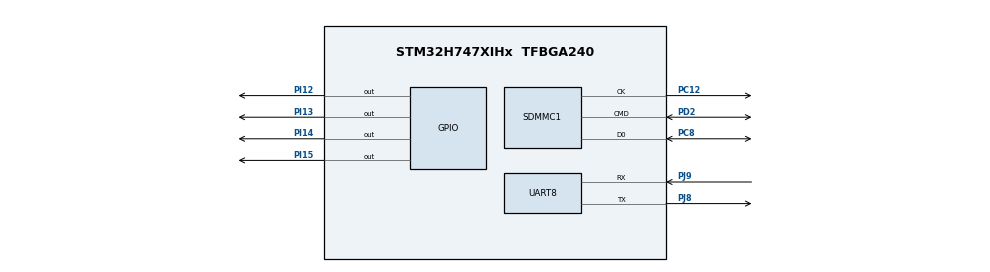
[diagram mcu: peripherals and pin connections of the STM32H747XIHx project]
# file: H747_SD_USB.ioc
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CortexM4.IPs=BDMA,CORTEX_M4\:I,DEBUG,DMA,FATFS_M4\:I,FREERTOS_M4\:I,IWDG2\:I,MDMA,NVIC2\:I,OPENAMP_M4\:I,PDM2PCM_M4\:I,PWR,RCC,RESMGR_UTILITY,SYS_M4\:I,USB_DEVICE_M4\:I,USB_HOST_M4\:I,VREFBUF,WWDG2\:I
CortexM7.IPs=BDMA\:I,CORTEX_M7\:I,DEBUG\:I,DMA\:I,FATFS_M7\:I,FREERTOS_M7\:I,IWDG1\:I,MDMA\:I,NVIC1\:I,OPENAMP_M7\:I,PDM2PCM_M7\:I,PWR\:I,RCC\:I,RESMGR_UTILITY\:I,SYS\:I,USB_DEVICE_M7\:I,USB_HOST_M7\:I,VREFBUF\:I,WWDG1\:I,SDMMC1\:I,UART8\:I
CortexM7.Pins=PI12,PI13,PI14,PI15
FATFS_M7._USE_STRFUNC=1
Mcu.Family=STM32H7
Mcu.Name=STM32H747XIHx
Mcu.Package=TFBGA240
NVIC1.PriorityGroup=NVIC_PRIORITYGROUP_4
NVIC1.UART8_IRQn=true\:0\:0\:false\:false\:true\:true\:true
NVIC2.PriorityGroup=NVIC_PRIORITYGROUP_4
PC12.Mode=SD_1_bit
PC12.PinAttribute=CortexM7
PC12.Signal=SDMMC1_CK
PC8.Mode=SD_1_bit
PC8.PinAttribute=CortexM7
PC8.Signal=SDMMC1_D0
PD2.Mode=SD_1_bit
PD2.PinAttribute=CortexM7
PD2.Signal=SDMMC1_CMD
PI12.PinAttribute=CortexM7
PI12.Signal=GPIO_Output
PI13.PinAttribute=CortexM7
PI13.Signal=GPIO_Output
PI14.PinAttribute=CortexM7
PI14.Signal=GPIO_Output
PI15.PinAttribute=CortexM7
PI15.Signal=GPIO_Output
PJ8.Mode=Asynchronous
PJ8.PinAttribute=CortexM7
PJ8.Signal=UART8_TX
PJ9.Mode=Asynchronous
PJ9.PinAttribute=CortexM7
PJ9.Signal=UART8_RX
ProjectManager.HeapSize=0x200
ProjectManager.StackSize=0x400
ProjectManager.TargetToolchain=STM32CubeIDE
RCC.ADCFreq_Value=129000000
RCC.APB1Freq_Value=64000000
RCC.APB2Freq_Value=64000000
RCC.APB3Freq_Value=64000000
RCC.APB4Freq_Value=64000000
RCC.CortexFreq_Value=64000000
RCC.HCLKFreq_Value=64000000
RCC.SYSCLKFreq_VALUE=64000000
RCC.USBCLockSelection=RCC_USBCLKSOURCE_HSI48
RCC.USBFreq_Value=48000000
SYS.userName=SYS_M7
VP_FATFS_M7_VS_SDIO.Mode=SDIO
VP_SYS_M4_VS_Systick.Mode=SysTick
board=custom

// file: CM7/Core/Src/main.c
/* USER CODE BEGIN Header */
/**
  ******************************************************************************
  * @file           : main.c
  * @brief          : Main program body
  ******************************************************************************
  * @attention
  *
  * <h2><center>&copy; Copyright (c) 2021 STMicroelectronics.
  * All rights reserved.</center></h2>
  *
  * This software component is licensed by ST under BSD 3-Clause license,
  * the "License"; You may not use this file except in compliance with the
  * License. You may obtain a copy of the License at:
  *                        opensource.org/licenses/BSD-3-Clause
  *
  ******************************************************************************
  */
/* USER CODE END Header */
#include "main.h"
#include "fatfs.h"

#include <stdio.h>
#include <string.h>
#include <stdarg.h>

/* USER CODE BEGIN PD */

#ifndef HSEM_ID_0
#define HSEM_ID_0 (0U) /* HW semaphore 0*/
#endif
/* USER CODE END PD */

SD_HandleTypeDef hsd1;

UART_HandleTypeDef huart8;

/* USER CODE BEGIN PV */
FATFS   	fatfs; 		/* FAT File System */
FRESULT 	fresult;  	/* FAT File Result */
FIL			myfile;		/* FILE Instance */

uint8_t write_data[] = "Hello! This is my friend.", byte_written = 0;
/* USER CODE END PV */

void SystemClock_Config(void);
static void MX_GPIO_Init(void);
static void MX_SDMMC1_SD_Init(void);
static void MX_UART8_Init(void);

/* USER CODE BEGIN 0 */
void Send_Uart (char *string)
{
	HAL_UART_Transmit(&huart8, (uint8_t *)string, strlen (string), HAL_MAX_DELAY);
}

int __io_putchar (int ch) {
	uint8_t c = ch;
	HAL_UART_Transmit(&huart8, &c, 1, 1000);
	return ch;
}

// Tạo file stm.txt và luu string 'Hello! This is my friend.
void Sd_Card_Manager()
{
	Send_Uart("Sd_Card_Manager...\n\r");
	if(BSP_SD_Init() == MSD_OK)
	{
		Send_Uart("successfully...\n\r");
		fresult = f_mount(&fatfs,"",1);

		/* Create File with name "stm32.txt" and file access is write */
		fresult = f_open(&myfile,"stm.txt",FA_CREATE_ALWAYS|FA_WRITE);

		byte_written = f_printf(&myfile,"%s",write_data);

		fresult = f_close(&myfile);
	}
}

// List ra cây thư muc có trong thẻ nhớ
void ls_dir(char* path)
{
	DIR Dir;
	FILINFO _Finfo;
	BYTE res;
	long p1, p2;
	UINT s1, s2;
	//while (*ptr == ' ') ptr++;
	res = f_opendir(&Dir, path);
	if (res)
	{
		//put_rc(res);
		return;
	}
	p1 = s1 = s2 = 0;

	for(;;) {
		res = f_readdir(&Dir, &_Finfo);
		if ((res != FR_OK) || !_Finfo.fname[0]) break;
		if (_Finfo.fattrib & AM_DIR) {
			s2++;
		} else {
			s1++; p1 += _Finfo.fsize;
		}
		printf("%c%c%c%c%c %u/%02u/%02u %02u:%02u %9lu  %s",
					(_Finfo.fattrib & AM_DIR) ? 'D' : '-',
					(_Finfo.fattrib & AM_RDO) ? 'R' : '-',
					(_Finfo.fattrib & AM_HID) ? 'H' : '-',
					(_Finfo.fattrib & AM_SYS) ? 'S' : '-',
					(_Finfo.fattrib & AM_ARC) ? 'A' : '-',
					(_Finfo.fdate >> 9) + 1980, (_Finfo.fdate >> 5) & 15, _Finfo.fdate & 31,
					(_Finfo.ftime >> 11), (_Finfo.ftime >> 5) & 63,
					_Finfo.fsize, &(_Finfo.fname[0]));
		printf("\r\n");
	}
	f_closedir(&Dir);
}

// Đọc dữ liệu trong 1 file bất kì
void fatfs_head_file(const char * fn)
{
	FRESULT f_err_code;
	FIL fil_obj;
	//trying to open and read file..
	f_chdir("/");
	f_err_code = f_open(&fil_obj, fn,FA_READ);	//Open *fn - <index.htm> for reading
	if(f_err_code==0)
	{
		DWORD file_len = fil_obj.fptr;
		UINT br;
		uint8_t _buf[128] = {0, };
		printf("++Content <%s> = %lu bytes found on SDCARD\r\n", fn, file_len);
		printf("++Trying to read head file..\r\n");
		f_err_code = f_read(&fil_obj,&_buf[0], 128, &br);
		if(f_err_code == 0)
		{
			if(br < 128)
				_buf[br] = 0x0;
			else
				_buf[127] = 0x0;
			printf ("OK\r\n");
			printf("text contents reading %u bytes:\r\n", br);
			printf("%s", _buf);
		}
		else
		{
			printf ("ERROR ");
			//put_rc(f_err_code);
			printf("But anyway text contents:\r\n");
			printf("%s", _buf);
		}
		f_close(&fil_obj);
	}
	else
	{
		printf ("ERROR opening file <%s> ", fn);
		//put_rc(f_err_code);
	}
}

void fatfs_init(void)
{
	printf(">>FS MOUNT ");
	f_mount(&fatfs, (const TCHAR *)"", 1);
	printf(">>GO ROOT DIRECTORY ");
	f_chdir((const TCHAR *)"/");
	printf ("\r\n\r\nSD-Card root file list:\r\n");
	printf ("===============================================\r\n");
	ls_dir("/");
	printf ("===============================================\r\n\r\n");

}
/* USER CODE END 0 */

int main(void)
{
/* USER CODE BEGIN Boot_Mode_Sequence_0 */
  int32_t timeout;
/* USER CODE END Boot_Mode_Sequence_0 */

/* USER CODE BEGIN Boot_Mode_Sequence_1 */
  /* Wait until CPU2 boots and enters in stop mode or timeout*/
  timeout = 0xFFFF;
  while((__HAL_RCC_GET_FLAG(RCC_FLAG_D2CKRDY) != RESET) && (timeout-- > 0));
  if ( timeout < 0 )
  {
  Error_Handler();
  }
/* USER CODE END Boot_Mode_Sequence_1 */
  /* MCU Configuration--------------------------------------------------------*/

  /* Reset of all peripherals, Initializes the Flash interface and the Systick. */
  HAL_Init();

  /* Configure the system clock */
  SystemClock_Config();
/* USER CODE BEGIN Boot_Mode_Sequence_2 */
/* When system initialization is finished, Cortex-M7 will release Cortex-M4 by means of
HSEM notification */
/*HW semaphore Clock enable*/
__HAL_RCC_HSEM_CLK_ENABLE();
/*Take HSEM */
HAL_HSEM_FastTake(HSEM_ID_0);
/*Release HSEM in order to notify the CPU2(CM4)*/
HAL_HSEM_Release(HSEM_ID_0,0);
/* wait until CPU2 wakes up from stop mode */
timeout = 0xFFFF;
while((__HAL_RCC_GET_FLAG(RCC_FLAG_D2CKRDY) == RESET) && (timeout-- > 0));
if ( timeout < 0 )
{
Error_Handler();
}
/* USER CODE END Boot_Mode_Sequence_2 */

  /* Initialize all configured peripherals */
  MX_GPIO_Init();
  MX_SDMMC1_SD_Init();
  MX_FATFS_Init();
  MX_UART8_Init();
  /* USER CODE BEGIN 2 */
  //Sd_Card_Manager();

  fatfs_init();
  fatfs_head_file("stm.txt");

  /* USER CODE END 2 */

  /* Infinite loop */
  while (1)
  {
//	  Send_Uart("USB mounted successfully...\n\r");
//		HAL_GPIO_TogglePin(GPIOI, GPIO_PIN_12);
//		HAL_GPIO_TogglePin(GPIOI, GPIO_PIN_13);
//		HAL_GPIO_TogglePin(GPIOI, GPIO_PIN_14);
//		HAL_GPIO_TogglePin(GPIOI, GPIO_PIN_15);
		HAL_Delay(1000);
  }
}

void SystemClock_Config(void)
{
  RCC_ClkInitTypeDef RCC_ClkInitStruct;
  RCC_OscInitTypeDef RCC_OscInitStruct;
  HAL_StatusTypeDef ret = HAL_OK;

  /*!< Supply configuration update enable */
  HAL_PWREx_ConfigSupply(PWR_DIRECT_SMPS_SUPPLY);

  /* The voltage scaling allows optimizing the power consumption when the device is
     clocked below the maximum system frequency, to update the voltage scaling value
     regarding system frequency refer to product datasheet.  */
  __HAL_PWR_VOLTAGESCALING_CONFIG(PWR_REGULATOR_VOLTAGE_SCALE1);

  while(!__HAL_PWR_GET_FLAG(PWR_FLAG_VOSRDY)) {}

  /* Enable HSE Oscillator and activate PLL with HSE as source */
  RCC_OscInitStruct.OscillatorType = RCC_OSCILLATORTYPE_HSE;
  RCC_OscInitStruct.HSEState = RCC_HSE_ON;
  RCC_OscInitStruct.HSIState = RCC_HSI_OFF;
  RCC_OscInitStruct.CSIState = RCC_CSI_OFF;
  RCC_OscInitStruct.PLL.PLLState = RCC_PLL_ON;
  RCC_OscInitStruct.PLL.PLLSource = RCC_PLLSOURCE_HSE;

  RCC_OscInitStruct.PLL.PLLM = 5;
  RCC_OscInitStruct.PLL.PLLN = 160;
  RCC_OscInitStruct.PLL.PLLFRACN = 0;
  RCC_OscInitStruct.PLL.PLLP = 2;
  RCC_OscInitStruct.PLL.PLLR = 2;
  RCC_OscInitStruct.PLL.PLLQ = 4;

  RCC_OscInitStruct.PLL.PLLVCOSEL = RCC_PLL1VCOWIDE;
  RCC_OscInitStruct.PLL.PLLRGE = RCC_PLL1VCIRANGE_2;
  ret = HAL_RCC_OscConfig(&RCC_OscInitStruct);
  if(ret != HAL_OK)
  {
    Error_Handler();
  }

/* Select PLL as system clock source and configure  bus clocks dividers */
  RCC_ClkInitStruct.ClockType = (RCC_CLOCKTYPE_SYSCLK | RCC_CLOCKTYPE_HCLK | RCC_CLOCKTYPE_D1PCLK1 | RCC_CLOCKTYPE_PCLK1 | \
                                 RCC_CLOCKTYPE_PCLK2  | RCC_CLOCKTYPE_D3PCLK1);

  RCC_ClkInitStruct.SYSCLKSource = RCC_SYSCLKSOURCE_PLLCLK;
  RCC_ClkInitStruct.SYSCLKDivider = RCC_SYSCLK_DIV1;
  RCC_ClkInitStruct.AHBCLKDivider = RCC_HCLK_DIV2;
  RCC_ClkInitStruct.APB3CLKDivider = RCC_APB3_DIV2;
  RCC_ClkInitStruct.APB1CLKDivider = RCC_APB1_DIV2;
  RCC_ClkInitStruct.APB2CLKDivider = RCC_APB2_DIV2;
  RCC_ClkInitStruct.APB4CLKDivider = RCC_APB4_DIV2;
  ret = HAL_RCC_ClockConfig(&RCC_ClkInitStruct, FLASH_LATENCY_4);
  if(ret != HAL_OK)
  {
    Error_Handler();
  }
    /*
  Note : The activation of the I/O Compensation Cell is recommended with communication  interfaces
          (GPIO, SPI, FMC, QSPI ...)  when  operating at  high frequencies(please refer to product datasheet)
          The I/O Compensation Cell activation  procedure requires :
        - The activation of the CSI clock
        - The activation of the SYSCFG clock
        - Enabling the I/O Compensation Cell : setting bit[0] of register SYSCFG_CCCSR

          To do this please uncomment the following code
  */

  /*
  __HAL_RCC_CSI_ENABLE() ;

  __HAL_RCC_SYSCFG_CLK_ENABLE() ;

  HAL_EnableCompensationCell();
  */
}

static void MX_SDMMC1_SD_Init(void)
{

  hsd1.Instance = SDMMC1;
  hsd1.Init.ClockEdge = SDMMC_CLOCK_EDGE_RISING;
  hsd1.Init.ClockPowerSave = SDMMC_CLOCK_POWER_SAVE_DISABLE;
  hsd1.Init.BusWide = SDMMC_BUS_WIDE_1B;
  hsd1.Init.HardwareFlowControl = SDMMC_HARDWARE_FLOW_CONTROL_DISABLE;
  hsd1.Init.ClockDiv = 0;
  hsd1.Init.TranceiverPresent = SDMMC_TRANSCEIVER_NOT_PRESENT;
  if (HAL_SD_Init(&hsd1) != HAL_OK)
  {
    Error_Handler();
  }

}

static void MX_UART8_Init(void)
{

  huart8.Instance = UART8;
  huart8.Init.BaudRate = 115200;
  huart8.Init.WordLength = UART_WORDLENGTH_8B;
  huart8.Init.StopBits = UART_STOPBITS_1;
  huart8.Init.Parity = UART_PARITY_NONE;
  huart8.Init.Mode = UART_MODE_TX_RX;
  huart8.Init.HwFlowCtl = UART_HWCONTROL_NONE;
  huart8.Init.OverSampling = UART_OVERSAMPLING_16;
  huart8.Init.OneBitSampling = UART_ONE_BIT_SAMPLE_DISABLE;
  huart8.Init.ClockPrescaler = UART_PRESCALER_DIV1;
  huart8.AdvancedInit.AdvFeatureInit = UART_ADVFEATURE_NO_INIT;
  if (HAL_UART_Init(&huart8) != HAL_OK)
  {
    Error_Handler();
  }
  if (HAL_UARTEx_SetTxFifoThreshold(&huart8, UART_TXFIFO_THRESHOLD_1_8) != HAL_OK)
  {
    Error_Handler();
  }
  if (HAL_UARTEx_SetRxFifoThreshold(&huart8, UART_RXFIFO_THRESHOLD_1_8) != HAL_OK)
  {
    Error_Handler();
  }
  if (HAL_UARTEx_DisableFifoMode(&huart8) != HAL_OK)
  {
    Error_Handler();
  }

}

static void MX_GPIO_Init(void)
{
  GPIO_InitTypeDef GPIO_InitStruct = {0};

  /* GPIO Ports Clock Enable */
  __HAL_RCC_GPIOC_CLK_ENABLE();
  __HAL_RCC_GPIOD_CLK_ENABLE();
  __HAL_RCC_GPIOI_CLK_ENABLE();
  __HAL_RCC_GPIOJ_CLK_ENABLE();

  /*Configure GPIO pin Output Level */
  HAL_GPIO_WritePin(GPIOI, GPIO_PIN_12|GPIO_PIN_13|GPIO_PIN_14|GPIO_PIN_15, GPIO_PIN_RESET);

  /*Configure GPIO pins : PI12 PI13 PI14 PI15 */
  GPIO_InitStruct.Pin = GPIO_PIN_12|GPIO_PIN_13|GPIO_PIN_14|GPIO_PIN_15;
  GPIO_InitStruct.Mode = GPIO_MODE_OUTPUT_PP;
  GPIO_InitStruct.Pull = GPIO_NOPULL;
  GPIO_InitStruct.Speed = GPIO_SPEED_FREQ_LOW;
  HAL_GPIO_Init(GPIOI, &GPIO_InitStruct);

}

void Error_Handler(void)
{
}

/************************ (C) COPYRIGHT STMicroelectronics *****END OF FILE****/
